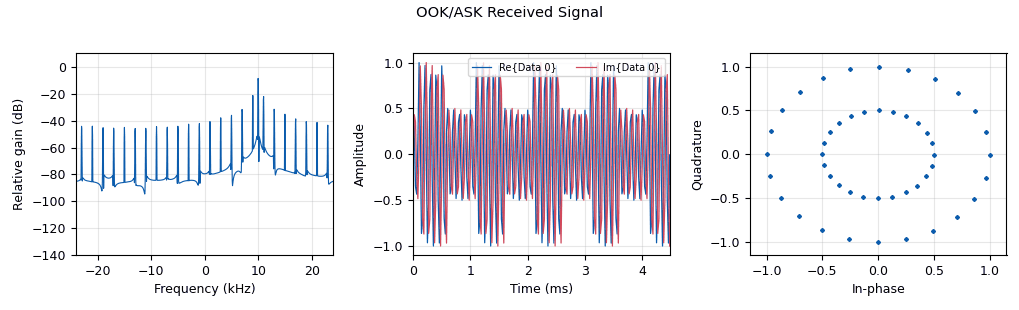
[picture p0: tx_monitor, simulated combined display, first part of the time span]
options:
  parameters:
    author: Mohit Sharma
    category: '[Custom]'
    comment: Amplitude-shift keying / on-off keying simulation using a square-wave envelope, carrier multiplication, envelope detection, and threshold slicing.
    description: Amplitude-shift keying / on-off keying simulation using a square-wave envelope, carrier multiplication, envelope detection, and threshold slicing.
    generate_options: qt_gui
    id: ask_ook_mod_demod_lab
    output_language: python
    placement: (0, 0)
    title: ASK/OOK Modulation & Demodulation Lab
  states: {}

blocks:
- name: fs
  id: variable
  parameters:
    value: '48000'
    comment: Baseband sample rate in samples per second.
  states: {}
- name: bit_rate
  id: variable
  parameters:
    value: '1000'
    comment: Toggle rate for this visual OOK test signal (square-wave source).
  states: {}
- name: noise
  id: variable
  parameters:
    value: '0.0'
    comment: Channel Model noise voltage; start at zero.
  states: {}
- name: ook_envelope
  id: analog_sig_source_x
  parameters:
    type: float
    waveform: analog.GR_SQR_WAVE
    samp_rate: fs
    freq: bit_rate
    amp: '0.5'
    offset: '0.5'
    phase: '0'
  states: {}
- name: envelope_to_complex
  id: blocks_float_to_complex
  parameters: {}
  states: {}
- name: carrier
  id: analog_sig_source_x
  parameters:
    type: complex
    waveform: analog.GR_COS_WAVE
    samp_rate: fs
    freq: '10000'
    amp: '1'
    offset: '0'
    phase: '0'
  states: {}
- name: ask_modulator
  id: blocks_multiply_xx
  parameters:
    type: complex
  states: {}
- name: channel
  id: channels_channel_model
  parameters:
    comment: No RF hardware; simulated channel only.
    epsilon: '1.0'
    freq_offset: '0.0'
    seed: '2026'
    taps: '[1.0]'
    noise_voltage: noise
  states: {}
- name: throttle
  id: blocks_throttle2
  parameters:
    samples_per_second: fs
    type: complex
  states: {}
- name: tx_monitor
  id: qtgui_sink_x
  parameters:
    comment: Complex envelope-keyed signal after channel.
    bw: fs
    fc: '0'
    fftsize: '1024'
    name: '''OOK/ASK Received Signal'''
    type: complex
    wintype: window.WIN_HAMMING
  states: {}
- name: envelope_detector
  id: blocks_complex_to_mag
  parameters: {}
  states: {}
- name: decision_centering
  id: blocks_add_const_vxx
  parameters:
    const: '-0.5'
    type: float
  states: {}
- name: bit_slicer
  id: digital_binary_slicer_fb
  parameters: {}
  states: {}
- name: bit_output_sink
  id: blocks_null_sink
  parameters:
    comment: Consumes hard decisions (0/1). The graph does not compute BER.
    type: byte
  states: {}

connections:
- [ook_envelope, '0', envelope_to_complex, '0']
- [envelope_to_complex, '0', ask_modulator, '0']
- [carrier, '0', ask_modulator, '1']
- [ask_modulator, '0', channel, '0']
- [channel, '0', throttle, '0']
- [throttle, '0', tx_monitor, '0']
- [throttle, '0', envelope_detector, '0']
- [envelope_detector, '0', decision_centering, '0']
- [decision_centering, '0', bit_slicer, '0']
- [bit_slicer, '0', bit_output_sink, '0']

metadata:
  file_format: 1
  grc_version: 3.10.12.0
